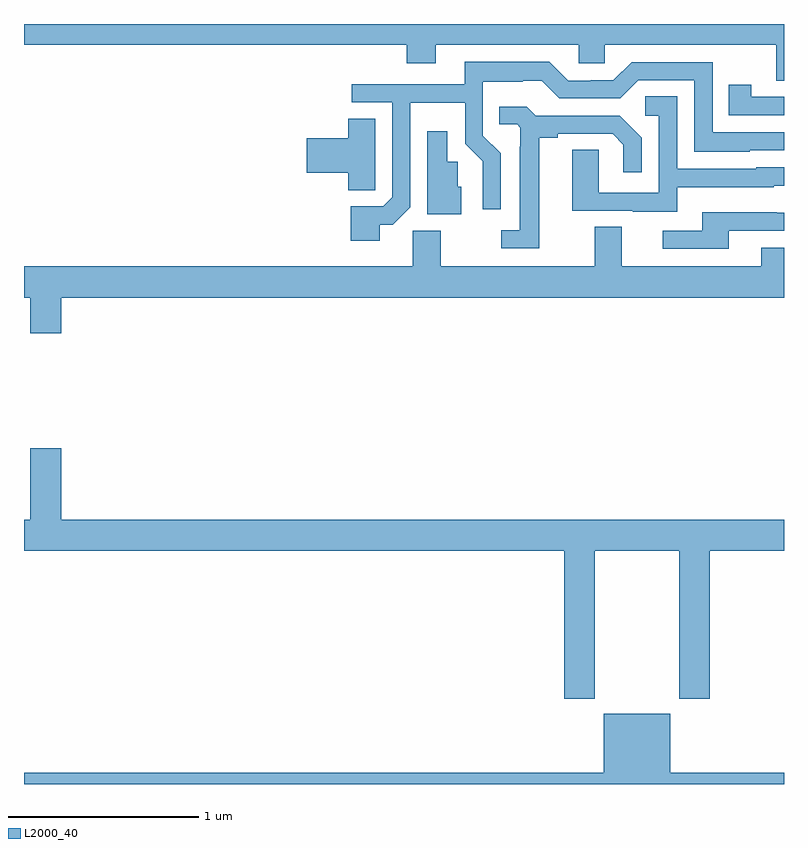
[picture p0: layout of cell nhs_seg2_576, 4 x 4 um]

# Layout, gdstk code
import gdstk
lib = gdstk.Library(unit=1e-6, precision=1e-09)
def P(c, l, *ps):  # polygons
    for p in ps: c.add(gdstk.Polygon(p, *l))
L2000_40 = (2000, 40)

nhs_seg2_576 = lib.new_cell('nhs_seg2_576')
P(nhs_seg2_576, L2000_40, [(141,591.692),(143.015,591.692),(143.015,591.593),(143.167,591.593),(143.167,591.692),(143.919,591.692),(143.919,591.594),(144.057,591.594),(144.057,591.692),(144.958,591.692),(144.958,591.502),(145,591.502),(145,591.8),(141,591.8)],
  [(142.873,590.743),(142.941,590.743),(143.034,590.835),(143.034,591.386),(143.322,591.386),(143.322,591.17),(143.414,591.078),(143.414,590.826),(143.508,590.826),(143.508,591.12),(143.415,591.213),(143.415,591.497),(143.624,591.497),(143.624,591.501),(143.724,591.501),(143.817,591.408),(144.138,591.408),(144.234,591.504),(144.528,591.504),(144.528,591.128),(144.819,591.128),(144.819,591.135),(145,591.135),(145,591.231),(144.624,591.231),(144.624,591.6),(144.198,591.6),(144.102,591.504),(143.982,591.504),(143.982,591.501),(143.865,591.501),(143.765,591.601),(143.321,591.601),(143.321,591.483),(142.725,591.483),(142.725,591.387),(142.938,591.387),(142.938,590.889),(142.89,590.841),(142.721,590.841),(142.721,590.658),(142.873,590.658)],
  [(145,591.417),(144.828,591.417),(144.828,591.481),(144.709,591.481),(144.709,591.321),(145,591.321)],
  [(144.439,590.942),(144.945,590.942),(144.945,590.949),(145,590.949),(145,591.045),(144.855,591.045),(144.855,591.039),(144.438,591.039),(144.438,591.419),(144.27,591.419),(144.27,591.318),(144.342,591.318),(144.342,590.913),(144.024,590.913),(144.024,591.137),(143.885,591.137),(143.885,590.817),(144.203,590.817),(144.203,590.813),(144.439,590.813)],
  [(143.713,591.202),(143.809,591.202),(143.809,591.222),(144.098,591.222),(144.155,591.165),(144.155,591.021),(144.252,591.021),(144.252,591.202),(144.136,591.318),(143.694,591.318),(143.646,591.365),(143.5,591.365),(143.5,591.273),(143.595,591.273),(143.613,591.255),(143.613,591.155),(143.609,591.155),(143.609,590.715),(143.511,590.715),(143.511,590.619),(143.713,590.619)],
  [(142.848,591.034),(142.849,591.034),(142.849,591.302),(142.706,591.302),(142.706,591.2),(142.488,591.2),(142.488,591.017),(142.706,591.017),(142.706,590.926),(142.848,590.926)],
  [(143.302,590.943),(143.283,590.943),(143.283,591.075),(143.227,591.075),(143.227,591.235),(143.123,591.235),(143.123,590.798),(143.302,590.798)],
  [(144.709,590.712),(145,590.712),(145,590.807),(144.962,590.807),(144.962,590.809),(144.569,590.809),(144.569,590.712),(144.363,590.712),(144.363,590.616),(144.709,590.616)],
  [(141.196,590.36),(145,590.36),(145,590.623),(144.881,590.623),(144.881,590.524),(144.145,590.524),(144.145,590.732),(144.005,590.732),(144.005,590.524),(143.193,590.524),(143.193,590.713),(143.046,590.713),(143.046,590.524),(141,590.524),(141,590.36),(141.032,590.36),(141.032,590.172),(141.196,590.172)],
  [(144.003,589.028),(144.448,589.028),(144.448,588.249),(144.608,588.249),(144.608,589.028),(145,589.028),(145,589.192),(141.196,589.192),(141.196,589.567),(141.032,589.567),(141.032,589.192),(141,589.192),(141,589.028),(143.843,589.028),(143.843,588.249),(144.003,588.249)],
  [(145,587.86),(144.4,587.86),(144.4,588.169),(144.05,588.169),(144.05,587.86),(141,587.86),(141,587.8),(145,587.8)])

lib.write_gds('nhs_seg2_576.gds')
